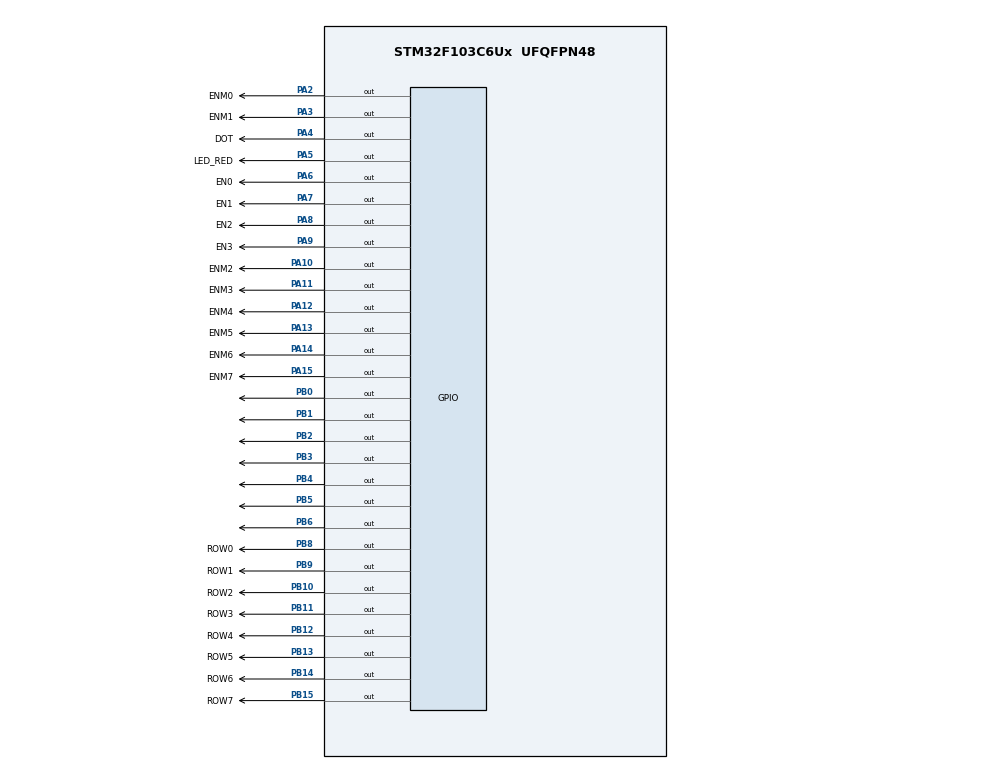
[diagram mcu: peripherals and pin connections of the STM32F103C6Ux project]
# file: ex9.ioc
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Mcu.Family=STM32F1
Mcu.Name=STM32F103C6Ux
Mcu.Package=UFQFPN48
NVIC.PriorityGroup=NVIC_PRIORITYGROUP_4
NVIC.TIM2_IRQn=true\:0\:0\:false\:false\:true\:true\:true
PA10.GPIO_Label=ENM2
PA10.Signal=GPIO_Output
PA11.GPIO_Label=ENM3
PA11.Signal=GPIO_Output
PA12.GPIO_Label=ENM4
PA12.Signal=GPIO_Output
PA13.GPIO_Label=ENM5
PA13.Signal=GPIO_Output
PA14.GPIO_Label=ENM6
PA14.Signal=GPIO_Output
PA15.GPIO_Label=ENM7
PA15.Signal=GPIO_Output
PA2.GPIO_Label=ENM0
PA2.Signal=GPIO_Output
PA3.GPIO_Label=ENM1
PA3.Signal=GPIO_Output
PA4.GPIO_Label=DOT
PA4.Signal=GPIO_Output
PA5.GPIO_Label=LED_RED
PA5.Signal=GPIO_Output
PA6.GPIO_Label=EN0
PA6.Signal=GPIO_Output
PA7.GPIO_Label=EN1
PA7.Signal=GPIO_Output
PA8.GPIO_Label=EN2
PA8.Signal=GPIO_Output
PA9.GPIO_Label=EN3
PA9.Signal=GPIO_Output
PB0.Signal=GPIO_Output
PB1.Signal=GPIO_Output
PB10.GPIO_Label=ROW2
PB10.Signal=GPIO_Output
PB11.GPIO_Label=ROW3
PB11.Signal=GPIO_Output
PB12.GPIO_Label=ROW4
PB12.Signal=GPIO_Output
PB13.GPIO_Label=ROW5
PB13.Signal=GPIO_Output
PB14.GPIO_Label=ROW6
PB14.Signal=GPIO_Output
PB15.GPIO_Label=ROW7
PB15.Signal=GPIO_Output
PB2.Signal=GPIO_Output
PB3.Signal=GPIO_Output
PB4.Signal=GPIO_Output
PB5.Signal=GPIO_Output
PB6.Signal=GPIO_Output
PB8.GPIO_Label=ROW0
PB8.Signal=GPIO_Output
PB9.GPIO_Label=ROW1
PB9.Signal=GPIO_Output
ProjectManager.HeapSize=0x200
ProjectManager.StackSize=0x400
ProjectManager.TargetToolchain=STM32CubeIDE
RCC.APB1Freq_Value=8000000
RCC.APB2Freq_Value=8000000
TIM2.Period=10
TIM2.Prescaler=7999
VP_SYS_VS_ND.Mode=No_Debug
VP_TIM2_VS_ClockSourceINT.Mode=Internal
board=custom

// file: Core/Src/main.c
/* USER CODE BEGIN Header */
/**
  ******************************************************************************
  * @file           : main.c
  * @brief          : Main program body
  ******************************************************************************
  * @attention
  *
  * <h2><center>&copy; Copyright (c) 2022 STMicroelectronics.
  * All rights reserved.</center></h2>
  *
  * This software component is licensed by ST under BSD 3-Clause license,
  * the "License"; You may not use this file except in compliance with the
  * License. You may obtain a copy of the License at:
  *                        opensource.org/licenses/BSD-3-Clause
  *
  ******************************************************************************
  */
/* USER CODE END Header */
#include "main.h"

/* USER CODE BEGIN Includes */
#include "software_timer.h"
/* USER CODE END Includes */

TIM_HandleTypeDef htim2;

void SystemClock_Config(void);
static void MX_GPIO_Init(void);
static void MX_TIM2_Init(void);

/* USER CODE BEGIN 0 */
void state_7seg(int a ,int b , int c , int d , int e ,int f, int g){
	   HAL_GPIO_WritePin(GPIOB, GPIO_PIN_0,a);
	   HAL_GPIO_WritePin(GPIOB, GPIO_PIN_1,b);
	   HAL_GPIO_WritePin(GPIOB, GPIO_PIN_2,c);
	   HAL_GPIO_WritePin(GPIOB, GPIO_PIN_3,d);
	   HAL_GPIO_WritePin(GPIOB, GPIO_PIN_4,e);
	   HAL_GPIO_WritePin(GPIOB, GPIO_PIN_5,f);
	   HAL_GPIO_WritePin(GPIOB, GPIO_PIN_6,g);
 }
void display_led7seg(int num){
	 if (num == 0){
		state_7seg(0,0,0,0,0,0,1);
	 }
	 if (num == 1){
		 state_7seg(1,0,0,1,1,1,1);
	 }
	 if (num == 2){
		 state_7seg(0,0,1,0,0,1,0);
	 }
	 if (num == 3){
		 state_7seg(0,0,0,0,1,1,0);
	 }
	 if (num == 4){
		 state_7seg(1,0,0,1,1,0,0);
	 }
	 if (num == 5){
		 state_7seg(0,1,0,0,1,0,0);
	 }
	 if (num == 6){
		 state_7seg(0,1,0,0,0,0,0);
	 }
	 if(num == 7){
		 state_7seg(0,0,0,1,1,1,1);
	 }
	 if (num == 8){
		 state_7seg(0,0,0,0,0,0,0);
	 }
	 if(num == 9){
		 state_7seg(0,0,0,0,1,0,0);
	 }
	 if(num >= 10){
		 state_7seg(0,0,0,0,0,0,1);
	 }
}
const int MAX_LED = 4;
int index_led = 0;
int led_buffer [4] = {1, 2, 3, 4};
void update7SEG ( int index ){
	switch ( index ){
		case 0:
			// Display the first 7 SEG with led_buffer [0]
			HAL_GPIO_WritePin(EN0_GPIO_Port,EN0_Pin,0);
			HAL_GPIO_WritePin(EN1_GPIO_Port,EN1_Pin,1);
			HAL_GPIO_WritePin(EN2_GPIO_Port,EN2_Pin,1);
			HAL_GPIO_WritePin(EN3_GPIO_Port,EN3_Pin,1);
			display_led7seg(led_buffer[0]);
			break ;
		case 1:
			// Display the second 7 SEG with led_buffer [1]
			HAL_GPIO_WritePin(EN0_GPIO_Port,EN0_Pin,1);
			HAL_GPIO_WritePin(EN1_GPIO_Port,EN1_Pin,0);
			HAL_GPIO_WritePin(EN2_GPIO_Port,EN2_Pin,1);
			HAL_GPIO_WritePin(EN3_GPIO_Port,EN3_Pin,1);
			display_led7seg(led_buffer[1]);
			break ;
		case 2:
			// Display the third 7 SEG with led_buffer [2]
			HAL_GPIO_WritePin(EN0_GPIO_Port,EN0_Pin,1);
			HAL_GPIO_WritePin(EN1_GPIO_Port,EN1_Pin,1);
			HAL_GPIO_WritePin(EN2_GPIO_Port,EN2_Pin,0);
			HAL_GPIO_WritePin(EN3_GPIO_Port,EN3_Pin,1);
			display_led7seg(led_buffer[2]);
			break ;
		case 3:
			// Display the forth 7 SEG with led_buffer [3]
			HAL_GPIO_WritePin(EN0_GPIO_Port,EN0_Pin,1);
			HAL_GPIO_WritePin(EN1_GPIO_Port,EN1_Pin,1);
			HAL_GPIO_WritePin(EN2_GPIO_Port,EN2_Pin,1);
			HAL_GPIO_WritePin(EN3_GPIO_Port,EN3_Pin,0);
			display_led7seg(led_buffer[3]);
			break ;
		default :
			break ;
	}
}

int hour_current , minute_current;
void updateClockBuffer (){
	if (hour_current < 10){
		led_buffer[0] = 0;
		led_buffer[1] = hour_current;
	}
	else if(hour_current >= 10){
		led_buffer[0] = hour_current/10;
		led_buffer[1] = hour_current - (hour_current/10)*10;
	}

	if(minute_current < 10){
		led_buffer[2] = 0;
		led_buffer[3] = minute_current ;
	}
	else if(minute_current >= 10){
		led_buffer[2] = minute_current/10;
		led_buffer[3] = minute_current - (minute_current/10)*10;
	}
}

void clear_ledmatrix_row(){
	HAL_GPIO_WritePin(ROW7_GPIO_Port, ROW7_Pin,1);
	HAL_GPIO_WritePin(ROW6_GPIO_Port, ROW6_Pin,1);
	HAL_GPIO_WritePin(ROW5_GPIO_Port, ROW5_Pin,1);
	HAL_GPIO_WritePin(ROW4_GPIO_Port, ROW4_Pin,1);
	HAL_GPIO_WritePin(ROW3_GPIO_Port, ROW3_Pin,1);
	HAL_GPIO_WritePin(ROW2_GPIO_Port, ROW2_Pin,1);
	HAL_GPIO_WritePin(ROW1_GPIO_Port, ROW1_Pin,1);
	HAL_GPIO_WritePin(ROW0_GPIO_Port, ROW0_Pin,1);
}

void clear_ENM(){
	  HAL_GPIO_WritePin(ENM0_GPIO_Port,	 ENM0_Pin, 1);
	  HAL_GPIO_WritePin(ENM1_GPIO_Port,	 ENM1_Pin, 1);
	  HAL_GPIO_WritePin(ENM2_GPIO_Port,	 ENM2_Pin, 1);
	  HAL_GPIO_WritePin(ENM3_GPIO_Port,	 ENM3_Pin, 1);
	  HAL_GPIO_WritePin(ENM4_GPIO_Port,	 ENM4_Pin, 1);
	  HAL_GPIO_WritePin(ENM5_GPIO_Port,	 ENM5_Pin, 1);
	  HAL_GPIO_WritePin(ENM6_GPIO_Port,	 ENM6_Pin, 1);
	  HAL_GPIO_WritePin(ENM7_GPIO_Port,	 ENM7_Pin, 1);
}
const int MAX_LED_MATRIX = 8;
void display_ledmatrix(uint8_t value ){
	  	  clear_ledmatrix_row();
		for (int i = 0; i < MAX_LED_MATRIX;i++){
			if(((value&0x80) == 0x80) && (i == 0 )){
				HAL_GPIO_WritePin(ROW7_GPIO_Port, ROW7_Pin,0);
			}
			if(((value&0x80) == 0x80) && (i == 1) ){
				HAL_GPIO_WritePin(ROW6_GPIO_Port, ROW6_Pin,0);
			}
			if(((value&0x80) == 0x80) && (i == 2) ){
				HAL_GPIO_WritePin(ROW5_GPIO_Port, ROW5_Pin,0);
			}
			if(((value&0x80) == 0x80) && (i == 3) ){
				HAL_GPIO_WritePin(ROW4_GPIO_Port, ROW4_Pin,0);
			}
			if(((value&0x80) == 0x80) && (i == 4) ){
				HAL_GPIO_WritePin(ROW3_GPIO_Port, ROW3_Pin,0);
			}
			if(((value&0x80) == 0x80) && (i == 5)){
				HAL_GPIO_WritePin(ROW2_GPIO_Port, ROW2_Pin,0);
			}
			if(((value&0x80)== 0x80) && (i == 6)){
				HAL_GPIO_WritePin(ROW1_GPIO_Port, ROW1_Pin,0);
			}
			if(((value&0x80) == 0x80) && (i == 7)){
				HAL_GPIO_WritePin(ROW0_GPIO_Port, ROW0_Pin,0);
			}
	 		value = value << 1;
		}
}

 int index_led_matrix = 0;
 uint8_t matrix_buffer [8] = {0x00 , 0xFC , 0xFE , 0x33 , 0x33 , 0xFE, 0xFC , 0x00 };
// void  set_buffer(){
//	 uint8_t temp = matrix_buffer[0];
//	for (int i = 0 ; i<MAX_LED_MATRIX;i++){
//
//	 }
// }
 void updateLEDMatrix (int index ){
	 clear_ENM();
 switch ( index ){
 	 case 0:
 		 HAL_GPIO_WritePin(ENM0_GPIO_Port, ENM0_Pin, 0);
 		 display_ledmatrix(matrix_buffer[0]);
 		 break ;
 	 case 1:
 		 HAL_GPIO_WritePin(ENM1_GPIO_Port, ENM1_Pin, 0);
 		 display_ledmatrix(matrix_buffer[1]);
 		 break ;
 	 case 2:
 		 HAL_GPIO_WritePin(ENM2_GPIO_Port, ENM2_Pin, 0);
 		 display_ledmatrix(matrix_buffer[2]);
 		 break ;
 	 case 3:
 		 HAL_GPIO_WritePin(ENM3_GPIO_Port, ENM3_Pin, 0);
 		 display_ledmatrix(matrix_buffer[3]);
 		 break ;
 	 case 4:
 		 HAL_GPIO_WritePin(ENM4_GPIO_Port, ENM4_Pin, 0);
 		 display_ledmatrix(matrix_buffer[4]);
 		 break ;
 	 case 5:
 		 HAL_GPIO_WritePin(ENM5_GPIO_Port, ENM5_Pin, 0);
 		 display_ledmatrix(matrix_buffer[5]);
 		 break ;
 	 case 6:
 		 HAL_GPIO_WritePin(ENM6_GPIO_Port, ENM6_Pin, 0);
 		 display_ledmatrix(matrix_buffer[6]);
 		 break ;
 	 case 7:
 		 HAL_GPIO_WritePin(ENM7_GPIO_Port, ENM7_Pin, 0);
 		 display_ledmatrix(matrix_buffer[7]);
 		 break ;
 	 default :
 		 break ;
 	 }
 }

/* USER CODE END 0 */

int main(void)
{

  /* MCU Configuration--------------------------------------------------------*/

  /* Reset of all peripherals, Initializes the Flash interface and the Systick. */
  HAL_Init();

  /* Configure the system clock */
  SystemClock_Config();

  /* Initialize all configured peripherals */
  MX_GPIO_Init();
  MX_TIM2_Init();
  /* USER CODE BEGIN 2 */
  HAL_TIM_Base_Start_IT (& htim2 );
  /* USER CODE END 2 */

  /* Infinite loop */
  /* USER CODE BEGIN WHILE */
  state_7seg(1,1,1,1,1,1,1);
  HAL_GPIO_WritePin(LED_RED_GPIO_Port, LED_RED_Pin, 0);
  HAL_GPIO_WritePin(DOT_GPIO_Port, DOT_Pin, 1);

 clear_ENM();
  setTimer1(10);
  while (1)
  {
	  if(timer1_flag == 1){
		  setTimer1(10);
		  updateLEDMatrix(index_led_matrix++);
		  if(index_led_matrix > 7){
			  index_led_matrix = 0;
		  }
	  }
    /* USER CODE END WHILE */

  }
}

void SystemClock_Config(void)
{
  RCC_OscInitTypeDef RCC_OscInitStruct = {0};
  RCC_ClkInitTypeDef RCC_ClkInitStruct = {0};

  /** Initializes the RCC Oscillators according to the specified parameters
  * in the RCC_OscInitTypeDef structure.
  */
  RCC_OscInitStruct.OscillatorType = RCC_OSCILLATORTYPE_HSI;
  RCC_OscInitStruct.HSIState = RCC_HSI_ON;
  RCC_OscInitStruct.HSICalibrationValue = RCC_HSICALIBRATION_DEFAULT;
  RCC_OscInitStruct.PLL.PLLState = RCC_PLL_NONE;
  if (HAL_RCC_OscConfig(&RCC_OscInitStruct) != HAL_OK)
  {
    Error_Handler();
  }
  /** Initializes the CPU, AHB and APB buses clocks
  */
  RCC_ClkInitStruct.ClockType = RCC_CLOCKTYPE_HCLK|RCC_CLOCKTYPE_SYSCLK
                              |RCC_CLOCKTYPE_PCLK1|RCC_CLOCKTYPE_PCLK2;
  RCC_ClkInitStruct.SYSCLKSource = RCC_SYSCLKSOURCE_HSI;
  RCC_ClkInitStruct.AHBCLKDivider = RCC_SYSCLK_DIV1;
  RCC_ClkInitStruct.APB1CLKDivider = RCC_HCLK_DIV1;
  RCC_ClkInitStruct.APB2CLKDivider = RCC_HCLK_DIV1;

  if (HAL_RCC_ClockConfig(&RCC_ClkInitStruct, FLASH_LATENCY_0) != HAL_OK)
  {
    Error_Handler();
  }
}

static void MX_TIM2_Init(void)
{

  TIM_ClockConfigTypeDef sClockSourceConfig = {0};
  TIM_MasterConfigTypeDef sMasterConfig = {0};

  htim2.Instance = TIM2;
  htim2.Init.Prescaler = 7999;
  htim2.Init.CounterMode = TIM_COUNTERMODE_UP;
  htim2.Init.Period = 10;
  htim2.Init.ClockDivision = TIM_CLOCKDIVISION_DIV1;
  htim2.Init.AutoReloadPreload = TIM_AUTORELOAD_PRELOAD_DISABLE;
  if (HAL_TIM_Base_Init(&htim2) != HAL_OK)
  {
    Error_Handler();
  }
  sClockSourceConfig.ClockSource = TIM_CLOCKSOURCE_INTERNAL;
  if (HAL_TIM_ConfigClockSource(&htim2, &sClockSourceConfig) != HAL_OK)
  {
    Error_Handler();
  }
  sMasterConfig.MasterOutputTrigger = TIM_TRGO_RESET;
  sMasterConfig.MasterSlaveMode = TIM_MASTERSLAVEMODE_DISABLE;
  if (HAL_TIMEx_MasterConfigSynchronization(&htim2, &sMasterConfig) != HAL_OK)
  {
    Error_Handler();
  }

}

static void MX_GPIO_Init(void)
{
  GPIO_InitTypeDef GPIO_InitStruct = {0};

  /* GPIO Ports Clock Enable */
  __HAL_RCC_GPIOA_CLK_ENABLE();
  __HAL_RCC_GPIOB_CLK_ENABLE();

  /*Configure GPIO pin Output Level */
  HAL_GPIO_WritePin(GPIOA, ENM0_Pin|ENM1_Pin|DOT_Pin|LED_RED_Pin
                          |EN0_Pin|EN1_Pin|EN2_Pin|EN3_Pin
                          |ENM2_Pin|ENM3_Pin|ENM4_Pin|ENM5_Pin
                          |ENM6_Pin|ENM7_Pin, GPIO_PIN_RESET);

  /*Configure GPIO pin Output Level */
  HAL_GPIO_WritePin(GPIOB, GPIO_PIN_0|GPIO_PIN_1|GPIO_PIN_2|ROW2_Pin
                          |ROW3_Pin|ROW4_Pin|ROW5_Pin|ROW6_Pin
                          |ROW7_Pin|GPIO_PIN_3|GPIO_PIN_4|GPIO_PIN_5
                          |GPIO_PIN_6|ROW0_Pin|ROW1_Pin, GPIO_PIN_RESET);

  /*Configure GPIO pins : ENM0_Pin ENM1_Pin DOT_Pin LED_RED_Pin
                           EN0_Pin EN1_Pin EN2_Pin EN3_Pin
                           ENM2_Pin ENM3_Pin ENM4_Pin ENM5_Pin
                           ENM6_Pin ENM7_Pin */
  GPIO_InitStruct.Pin = ENM0_Pin|ENM1_Pin|DOT_Pin|LED_RED_Pin
                          |EN0_Pin|EN1_Pin|EN2_Pin|EN3_Pin
                          |ENM2_Pin|ENM3_Pin|ENM4_Pin|ENM5_Pin
                          |ENM6_Pin|ENM7_Pin;
  GPIO_InitStruct.Mode = GPIO_MODE_OUTPUT_PP;
  GPIO_InitStruct.Pull = GPIO_NOPULL;
  GPIO_InitStruct.Speed = GPIO_SPEED_FREQ_LOW;
  HAL_GPIO_Init(GPIOA, &GPIO_InitStruct);

  /*Configure GPIO pins : PB0 PB1 PB2 ROW2_Pin
                           ROW3_Pin ROW4_Pin ROW5_Pin ROW6_Pin
                           ROW7_Pin PB3 PB4 PB5
                           PB6 ROW0_Pin ROW1_Pin */
  GPIO_InitStruct.Pin = GPIO_PIN_0|GPIO_PIN_1|GPIO_PIN_2|ROW2_Pin
                          |ROW3_Pin|ROW4_Pin|ROW5_Pin|ROW6_Pin
                          |ROW7_Pin|GPIO_PIN_3|GPIO_PIN_4|GPIO_PIN_5
                          |GPIO_PIN_6|ROW0_Pin|ROW1_Pin;
  GPIO_InitStruct.Mode = GPIO_MODE_OUTPUT_PP;
  GPIO_InitStruct.Pull = GPIO_NOPULL;
  GPIO_InitStruct.Speed = GPIO_SPEED_FREQ_LOW;
  HAL_GPIO_Init(GPIOB, &GPIO_InitStruct);

}

/* USER CODE BEGIN 4 */
//int count = 25;
void HAL_TIM_PeriodElapsedCallback(TIM_HandleTypeDef * htim ){
	timerRun();
}
/* USER CODE END 4 */

void Error_Handler(void)
{
  __disable_irq();
  while (1)
  {
  }
}

/************************ (C) COPYRIGHT STMicroelectronics *****END OF FILE****/
